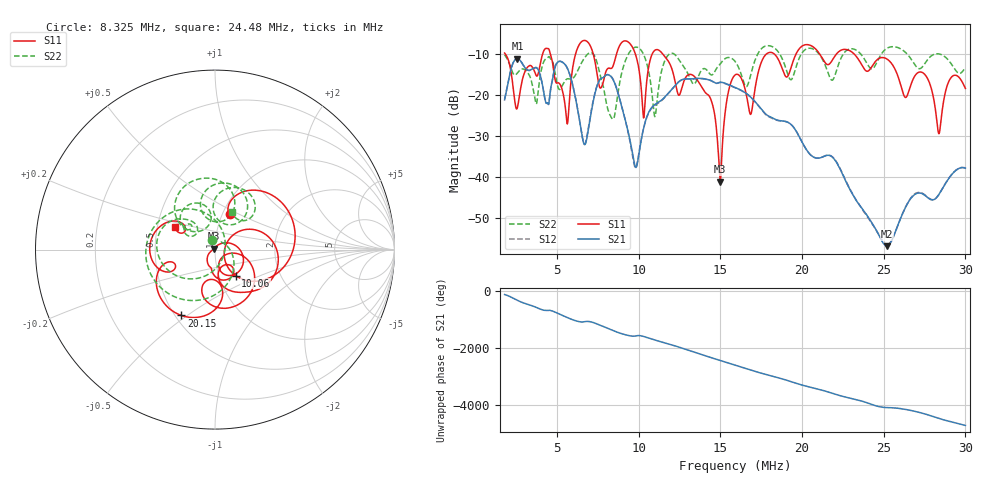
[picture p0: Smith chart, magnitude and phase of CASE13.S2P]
!Agilent Technologies,E5061B,MY49101568,A.02.00
!Date: Wed Mar 01 15:48:18 2023
!Data & Calibration Information:
!Freq	S11:SOLT2(OFF)	S21:SOLT2(OFF)	S12:SOLT2(OFF)	S22:SOLT2(OFF)
# Hz S dB R 50
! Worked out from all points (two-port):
!   1155 points, 1.8 MHz to 30 MHz, reference 50 ohm
!   highest |S21| = -11.02 dB at 2.582 MHz (marker M1); lowest = -56.8 dB at 25.19 MHz (marker M2)
!   |S21| within 3 dB of the highest: 2.166 MHz to 3.887 MHz (1.721 MHz wide, 56.9 % of centre); 4.829 MHz to 5.706 MHz (877.2 kHz wide, 16.7 % of centre)
!   lowest |S11| = -41.1 dB at 15 MHz (marker M3), VSWR 1.02, Z = 49.3 + j0.501 ohm
!   |S11| at or under -10 dB: 1.86 MHz to 4.118 MHz (2.258 MHz wide, 75.5 % of centre); 11.5 MHz to 17.8 MHz (6.303 MHz wide, 43 % of centre); 23.21 MHz to end of sweep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
!   |S22| runs from -25.8 to -7.9 dB; largest |S21 - S12| = 0.0048
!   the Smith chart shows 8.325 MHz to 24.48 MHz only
!   S11 on the Smith chart (normalised r, x): 8.325 MHz: 1.08, +0.45; 10.06 MHz: 1.20, -0.36; 20.15 MHz: 0.54, -0.48; 24.48 MHz: 0.62, +0.16
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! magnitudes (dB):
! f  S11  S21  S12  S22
! 1.8 MHz  -9.7  -21.1  -20.9  -10.1
! 2.582 MHz  -23.0  -11.0  -11.0  -14.5
! 3.731 MHz  -15.2  -13.2  -13.2  -22.1
! 4.39 MHz  -8.6  -21.9  -21.9  -11.0
! 5.637 MHz  -27.0  -13.4  -13.4  -16.0
! 6.516 MHz  -6.9  -29.3  -29.3  -12.0
! 8.325 MHz  -13.4  -15.5  -15.4  -25.4
! 10.06 MHz  -14.7  -33.4  -33.0  -8.6
! 10.33 MHz  -25.3  -27.7  -27.7  -10.2
! 11.21 MHz  -8.9  -21.7  -21.9  -18.6
! 14.36 MHz  -20.5  -16.3  -16.3  -14.8
! 15 MHz  -41.1  -16.8  -16.9  -12.3
! 15.9 MHz  -15.0  -18.1  -18.1  -11.7
! 16.85 MHz  -24.7  -20.4  -20.4  -15.1
! 17.76 MHz  -10.2  -24.5  -24.6  -8.0
! 20.15 MHz  -7.7  -32.5  -32.5  -9.0
! 20.62 MHz  -8.0  -34.9  -34.9  -8.6
! 24.48 MHz  -11.8  -52.5  -52.5  -12.7
! 25.19 MHz  -11.1  -56.8  -56.5  -8.6
! 25.31 MHz  -11.5  -56.7  -56.3  -8.3
! 28.36 MHz  -29.3  -44.3  -44.3  -9.9
! 30 MHz  -18.3  -37.8  -37.7  -13.2
